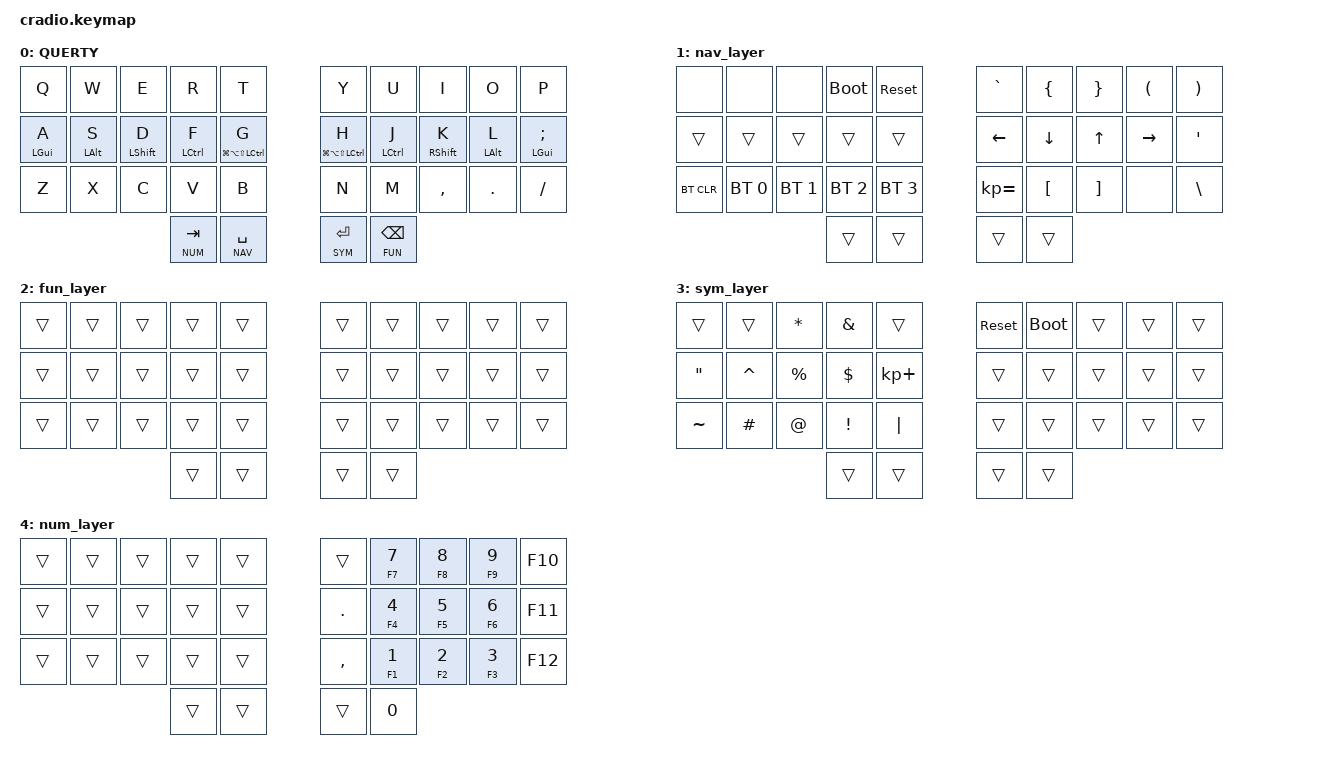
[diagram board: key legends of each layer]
// vim: set nowrap:

#include <behaviors.dtsi>
#include <dt-bindings/zmk/keys.h>
#include <dt-bindings/zmk/bt.h>
#include <dt-bindings/zmk/keys.h>
#include <behaviors.dtsi>

#define XXX &none
#define ___ &trans

#define COLEMAK 0
#define NAV 1
#define FUN 2
#define SYM 3
#define NUM 4


#define HYPER LG(LA(LS(LCTRL)))

#define COMBO(NAME, BINDINGS, KEYPOS) \
  combo_##NAME { \
    bindings = <BINDINGS>; \
    key-positions = <KEYPOS>; \
    timeout-ms = <80>; \
  };

&mt {
  flavor = "tap-preferred";
  tapping_term_ms = <200>;
};
/ { 

    combos {
/*                KEY POSITIONS

  ╭────────────────────╮ ╭────────────────────╮
  │  0   1   2   3   4 │ │  5   6   7   8   9 │
  │ 10  11  12  13  14 │ │ 15  16  17  18  19 │
  │ 20  21  22  23  24 │ │ 25  26  27  28  29 │
  ╰───────────╮ 30  31 │ │ 32  33 ╭───────────╯
              ╰────────╯ ╰────────╯            */
        compatible = "zmk,combos";
        COMBO(caps_word, &caps_word, 20 29)
        COMBO(esc, &kp ESC, 10 19)
        COMBO(minus, &kp MINUS, 3 6)
        COMBO(repeat, &key_repeat, 4 5)
        COMBO(under, &kp UNDER, 23 26)
        COMBO(ralt, &sk RALT, 30 33)
        COMBO(del, &kp DEL, 28 29)
    };

    keymap {
        compatible = "zmk,keymap";

    /* colemak_layer { */
    /*   label = "DH"; */
    /*   bindings = < */
    /*     // ╭─────────────┬─────────────┬─────────────┬─────────────┬─────────────╮   ╭─────────────┬─────────────┬─────────────┬─────────────┬─────────────╮ */
    /*          &kp Q         &kp W         &kp F         &kp P         &kp B             &kp J         &kp L         &kp U         &kp Y         &kp SCLN */
    /*     // ├─────────────┼─────────────┼─────────────┼─────────────┼─────────────┤   ├─────────────┼─────────────┼─────────────┼─────────────┼─────────────┤ */
    /*          &mt LGUI  A   &mt LALT R    &mt LSHIFT S  &mt LCTRL T   &mt HYPER G       &mt HYPER  M  &mt LCTRL N   &mt RSHIFT E  &mt LALT I    &mt LGUI O */
    /*     // ├─────────────┼─────────────┼─────────────┼─────────────┼─────────────┤   ├─────────────┼─────────────┼─────────────┼─────────────┼─────────────┤ */
    /*          &kp Z         &kp X         &kp C         &kp D         &kp V             &kp K         &kp H         &kp COMMA     &kp DOT       &kp FSLH */
    /*     // ╰─────────────┴─────────────┴─────────────┼─────────────┼─────────────┤   ├─────────────┼─────────────┼─────────────┴─────────────┴─────────────╯ */
    /*                                                    &lt NUM TAB   &lt NAV SPC       &lt SYM RET   &lt FUN BSPC */
    /*     //                                           ╰─────────────┴─────────────╯   ╰─────────────┴─────────────╯ */
    /*   >; */
    /* }; */

    base_layer {
      label = "QUERTY";
      bindings = <
        // ╭─────────────┬─────────────┬─────────────┬─────────────┬─────────────╮   ╭─────────────┬─────────────┬────────────────┬─────────────┬────────────────╮
             &kp Q         &kp W         &kp E         &kp R         &kp T             &kp Y         &kp U         &kp I            &kp O         &kp P
        // ├─────────────┼─────────────┼─────────────┼─────────────┼─────────────┤   ├─────────────┼─────────────┼────────────────┼─────────────┼────────────────┤
             &mt LGUI  A   &mt LALT  S   &mt LSHIFT D  &mt LCTRL F   &mt HYPER G       &mt HYPER H   &mt LCTRL J   &mt RSHIFT K     &mt LALT L    &mt LGUI SCLN
        // ├─────────────┼─────────────┼─────────────┼─────────────┼─────────────┤   ├─────────────┼─────────────┼────────────────┼─────────────┼────────────────┤
             &kp Z         &kp X         &kp C         &kp V         &kp B             &kp N         &kp M         &kp COMMA        &kp DOT       &kp FSLH
        // ╰─────────────┴─────────────┴─────────────┼─────────────┼─────────────┤   ├─────────────┼─────────────┼────────────────┴─────────────┴────────────────╯
                                                       &lt NUM TAB   &lt NAV SPC       &lt SYM RET   &lt FUN BSPC
        //                                           ╰─────────────┴─────────────╯   ╰─────────────┴─────────────╯
      >;
    };
        nav_layer {
            bindings = <
        // ╭─────────────┬─────────────┬─────────────┬─────────────┬─────────────╮   ╭─────────────┬─────────────┬─────────────┬─────────────┬─────────────╮
              XXX           XXX          XXX           &bootloader   &sys_reset        &kp GRAVE     &kp LBRC      &kp RBRC      &kp LPAR      &kp RPAR
        // ├─────────────┼─────────────┼─────────────┼─────────────┼─────────────┤   ├─────────────┼─────────────┼─────────────┼─────────────┼─────────────┤
              ___           ___          ___           ___           ___               &kp LEFT      &kp DOWN      &kp UP        &kp RIGHT     &kp SQT
        // ├─────────────┼─────────────┼─────────────┼─────────────┼─────────────┤   ├─────────────┼─────────────┼─────────────┼─────────────┼─────────────┤
              &bt BT_CLR   &bt BT_SEL 0  &bt BT_SEL 1  &bt BT_SEL 2  &bt BT_SEL 3      &kp KP_EQUAL  &kp LBKT      &kp RBKT      XXX           &kp BSLH
        // ╰─────────────┴─────────────┴─────────────┼─────────────┼─────────────┤   ├─────────────┼─────────────┼─────────────┴─────────────┴─────────────╯
                                                       ___           ___               ___           ___
        //                                           ╰─────────────┴─────────────╯   ╰─────────────┴─────────────╯
                >;
        };

        fun_layer {
            bindings = <

        // ╭─────────────┬─────────────┬─────────────┬─────────────┬─────────────╮   ╭─────────────┬─────────────┬─────────────┬─────────────┬─────────────╮
             ___           ___           ___           ___           ___               ___           ___           ___           ___           ___
        // ├─────────────┼─────────────┼─────────────┼─────────────┼─────────────┤   ├─────────────┼─────────────┼─────────────┼─────────────┼─────────────┤
             ___           ___           ___           ___           ___               ___           ___           ___           ___           ___
        // ├─────────────┼─────────────┼─────────────┼─────────────┼─────────────┤   ├─────────────┼─────────────┼─────────────┼─────────────┼─────────────┤
             ___           ___           ___           ___           ___               ___           ___           ___           ___           ___
        // ╰─────────────┴─────────────┴─────────────┼─────────────┼─────────────┤   ├─────────────┼─────────────┼─────────────┴─────────────┴─────────────╯
                                                       ___           ___               ___           ___
        //                                           ╰─────────────┴─────────────╯   ╰─────────────┴─────────────╯
                >;
       };

       sym_layer {
            bindings = <
        // ╭─────────────┬─────────────┬─────────────┬─────────────┬─────────────╮   ╭─────────────┬─────────────┬─────────────┬─────────────┬─────────────╮
             ___           ___           &kp STAR      &kp AMPS      ___               &sys_reset    &bootloader   ___           ___           ___
        // ├─────────────┼─────────────┼─────────────┼─────────────┼─────────────┤   ├─────────────┼─────────────┼─────────────┼─────────────┼─────────────┤
             &kp DQT       &kp CARET     &kp PRCNT     &kp DLLR      &kp KP_PLUS       ___           ___           ___           ___           ___
        // ├─────────────┼─────────────┼─────────────┼─────────────┼─────────────┤   ├─────────────┼─────────────┼─────────────┼─────────────┼─────────────┤
             &kp TILDE     &kp HASH      &kp AT        &kp EXCL      &kp PIPE          ___           ___           ___           ___           ___
        // ╰─────────────┴─────────────┴─────────────┼─────────────┼─────────────┤   ├─────────────┼─────────────┼─────────────┴─────────────┴─────────────╯
                                                       ___           ___               ___           ___
        //                                           ╰─────────────┴─────────────╯   ╰─────────────┴─────────────╯
                >;
        };

        num_layer {
            bindings = <
        // ╭─────────────┬─────────────┬─────────────┬─────────────┬─────────────╮   ╭─────────────┬─────────────┬─────────────┬─────────────┬─────────────╮
             ___           ___           ___           ___           ___                ___          &mt F7 N7     &mt F8 N8     &mt F9 N9     &kp F10
        // ├─────────────┼─────────────┼─────────────┼─────────────┼─────────────┤   ├─────────────┼─────────────┼─────────────┼─────────────┼─────────────┤
             ___           ___           ___           ___           ___                &kp DOT      &mt F4 N4     &mt F5 N5     &mt F6 N6     &kp F11
        // ├─────────────┼─────────────┼─────────────┼─────────────┼─────────────┤   ├─────────────┼─────────────┼─────────────┼─────────────┼─────────────┤
             ___           ___           ___           ___           ___                &kp COMMA    &mt F1 N1     &mt F2 N2     &mt F3 N3     &kp F12
        // ╰─────────────┴─────────────┴─────────────┼─────────────┼─────────────┤   ├─────────────┼─────────────┼─────────────┴─────────────┴─────────────╯
                                                       ___           ___                ___          &kp N0
        //                                           ╰─────────────┴─────────────╯   ╰─────────────┴─────────────╯
                >;
        };
    };
};
